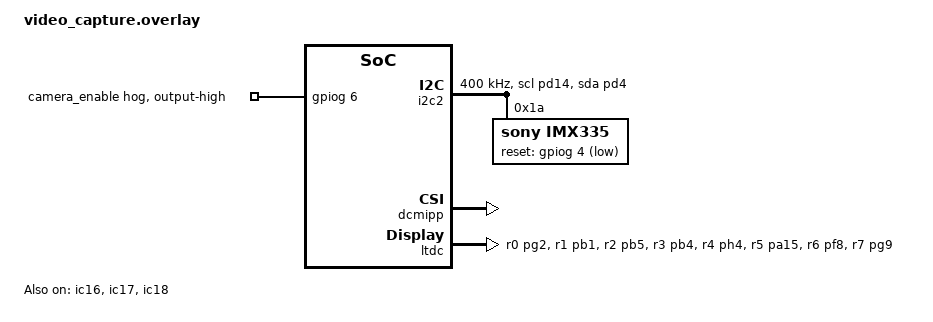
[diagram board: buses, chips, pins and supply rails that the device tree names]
/*
 * SPDX-FileCopyrightText: Copyright The Zephyr Project Contributors
 * SPDX-License-Identifier: Apache-2.0
 */

#include <zephyr/dt-bindings/display/panel.h>
#include <zephyr/dt-bindings/memory-attr/memory-attr-arm.h>
#include <zephyr/dt-bindings/video/video-interfaces.h>

/ {
	chosen {
		zephyr,camera = &pipe_main;
		zephyr,display = &ltdc;
	};

	imx335_input_clock: imx335-input-clock {
		compatible = "fixed-clock";
		clock-frequency = <37125000>;
		#clock-cells = <0>;
	};
};

/* Keep video buffers below the SRAM application and OpenOCD work area. */
&axisram1 {
	reg = <0x34000000 DT_SIZE_K(1536)>;
	zephyr,memory-attr = <DT_MEM_ARM_MPU_RAM_NOCACHE>;
};

&gpiog {
	camera_enable: camera-enable-hog {
		gpio-hog;
		gpios = <6 GPIO_ACTIVE_HIGH>;
		output-high;
	};
};

/* PLL3: 48 MHz / 3 * 125 = 2 GHz; IC16: 2 GHz / 60 = 33.33 MHz. */
&ic16 {
	pll-src = <3>;
	ic-div = <60>;
	status = "okay";
};

&ic17 {
	pll-src = <1>;
	ic-div = <4>;
	status = "okay";
};

&ic18 {
	pll-src = <1>;
	ic-div = <60>;
	status = "okay";
};

&i2c2 {
	clocks = <&rcc STM32_CLOCK(APB1, 22)>,
		 <&rcc STM32_SRC_CKPER I2C2_SEL(1)>;
	pinctrl-0 = <&i2c2_scl_pd14 &i2c2_sda_pd4>;
	pinctrl-names = "default";
	clock-frequency = <I2C_BITRATE_FAST>;
	status = "okay";

	imx335: camera@1a {
		compatible = "sony,imx335";
		reg = <0x1a>;
		clocks = <&imx335_input_clock>;
		reset-gpios = <&gpiog 4 GPIO_ACTIVE_LOW>;

		port {
			imx335_ep_out: endpoint {
				remote-endpoint-label = "dcmipp_ep_in";
				bus-type = <VIDEO_BUS_TYPE_CSI2_DPHY>;
				data-lanes = <1 2>;
			};
		};
	};
};

&dcmipp {
	status = "okay";

	port {
		dcmipp_ep_in: endpoint {
			remote-endpoint-label = "imx335_ep_out";
			bus-type = <VIDEO_BUS_TYPE_CSI2_DPHY>;
			data-lanes = <1 2>;
		};
	};
};

&ltdc {
	clocks = <&rcc STM32_CLOCK(APB5, 1)>,
		 <&rcc STM32_SRC_IC16 LTDC_SEL(2)>;
	pinctrl-0 = <&ltdc_r0_pg2 &ltdc_r1_pb1 &ltdc_r2_pb5 &ltdc_r3_pb4
		     &ltdc_r4_ph4 &ltdc_r5_pa15 &ltdc_r6_pf8 &ltdc_r7_pg9
		     &ltdc_g0_pg12 &ltdc_g1_pg1 &ltdc_g2_pa1 &ltdc_g3_pa0
		     &ltdc_g4_pb15 &ltdc_g5_pb12 &ltdc_g6_pb11 &ltdc_g7_pb10
		     &ltdc_b0_pg15 &ltdc_b1_pa7 &ltdc_b2_pa12 &ltdc_b3_pa11
		     &ltdc_b4_pa10 &ltdc_b5_pa9 &ltdc_b6_pa8 &ltdc_b7_pa2
		     &ltdc_de_pg13 &ltdc_clk_pa5 &ltdc_hsync_pf9 &ltdc_vsync_pg0>;
	pinctrl-names = "default";
	bl-ctrl-gpios = <&gpioa 3 GPIO_ACTIVE_HIGH>;
	width = <800>;
	height = <480>;
	pixel-format = <PANEL_PIXEL_FORMAT_RGB_888>;
	status = "okay";

	/* ATK-MD0430R-800480 (panel ID 0x4384). */
	display-timings {
		compatible = "zephyr,panel-timing";
		de-active = <0>;
		pixelclk-active = <0>;
		hsync-active = <0>;
		vsync-active = <0>;
		hsync-len = <88>;
		vsync-len = <40>;
		hback-porch = <48>;
		vback-porch = <32>;
		hfront-porch = <13>;
		vfront-porch = <3>;
	};
};

/* Match the RGB interface drive speed used by the panel reference design. */
&ltdc_r0_pg2 {
	slew-rate = "very-high-speed";
};

&ltdc_r1_pb1 {
	slew-rate = "very-high-speed";
};

&ltdc_r2_pb5 {
	slew-rate = "very-high-speed";
};

&ltdc_r3_pb4 {
	slew-rate = "very-high-speed";
};

&ltdc_r4_ph4 {
	slew-rate = "very-high-speed";
};

&ltdc_r5_pa15 {
	slew-rate = "very-high-speed";
};

&ltdc_r6_pf8 {
	slew-rate = "very-high-speed";
};

&ltdc_r7_pg9 {
	slew-rate = "very-high-speed";
};

&ltdc_g0_pg12 {
	slew-rate = "very-high-speed";
};

&ltdc_g1_pg1 {
	slew-rate = "very-high-speed";
};

&ltdc_g2_pa1 {
	slew-rate = "very-high-speed";
};

&ltdc_g3_pa0 {
	slew-rate = "very-high-speed";
};

&ltdc_g4_pb15 {
	slew-rate = "very-high-speed";
};

&ltdc_g5_pb12 {
	slew-rate = "very-high-speed";
};

&ltdc_g6_pb11 {
	slew-rate = "very-high-speed";
};

&ltdc_g7_pb10 {
	slew-rate = "very-high-speed";
};

&ltdc_b0_pg15 {
	slew-rate = "very-high-speed";
};

&ltdc_b1_pa7 {
	slew-rate = "very-high-speed";
};

&ltdc_b2_pa12 {
	slew-rate = "very-high-speed";
};

&ltdc_b3_pa11 {
	slew-rate = "very-high-speed";
};

&ltdc_b4_pa10 {
	slew-rate = "very-high-speed";
};

&ltdc_b5_pa9 {
	slew-rate = "very-high-speed";
};

&ltdc_b6_pa8 {
	slew-rate = "very-high-speed";
};

&ltdc_b7_pa2 {
	slew-rate = "very-high-speed";
};

&ltdc_de_pg13 {
	slew-rate = "very-high-speed";
};

&ltdc_clk_pa5 {
	slew-rate = "very-high-speed";
};

&ltdc_hsync_pf9 {
	slew-rate = "very-high-speed";
};

&ltdc_vsync_pg0 {
	slew-rate = "very-high-speed";
};

/* The LTDC driver controls PA3 as a GPIO in the preview configuration. */
&pwm16 {
	status = "disabled";
};

&lcd_backlight {
	status = "disabled";
};
